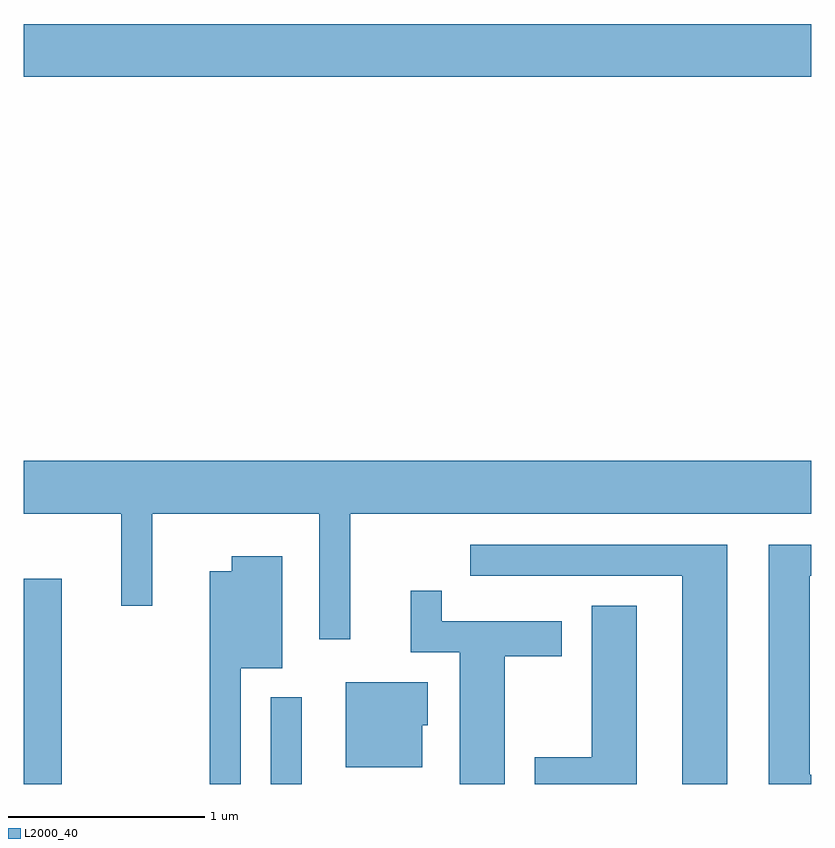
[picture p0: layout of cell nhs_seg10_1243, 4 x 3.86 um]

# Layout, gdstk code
import gdstk
lib = gdstk.Library(unit=1e-6, precision=1e-09)
def R(c, l, rs):  # rectangles x0, y0, x1, y1
    for r in rs: c.add(gdstk.rectangle(r[:2], r[2:], *l))
def P(c, l, *ps):  # polygons
    for p in ps: c.add(gdstk.Polygon(p, *l))
L2000_40 = (2000, 40)

nhs_seg10_1243 = lib.new_cell('nhs_seg10_1243')
R(nhs_seg10_1243, L2000_40, [(221.611,2132.522,221.804,2133.564), (222.866,2132.522,223.024,2132.963), (221.611,2136.116,225.611,2136.384)])
P(nhs_seg10_1243, L2000_40, [(223.269,2133.896),(225.611,2133.896),(225.611,2134.164),(221.611,2134.164),(221.611,2133.896),(222.106,2133.896),(222.106,2133.428),(222.264,2133.428),(222.264,2133.896),(223.111,2133.896),(223.111,2133.258),(223.269,2133.258)],
  [(225.611,2132.569),(225.604,2132.569),(225.604,2133.581),(225.611,2133.581),(225.611,2133.739),(225.396,2133.739),(225.396,2132.522),(225.611,2132.522)],
  [(225.184,2133.739),(223.878,2133.739),(223.878,2133.581),(224.956,2133.581),(224.956,2132.522),(225.184,2132.522)],
  [(222.714,2133.111),(222.924,2133.111),(222.924,2133.679),(222.666,2133.679),(222.666,2133.604),(222.556,2133.604),(222.556,2132.522),(222.714,2132.522)],
  [(224.054,2133.171),(224.344,2133.171),(224.344,2133.349),(223.734,2133.349),(223.734,2133.503),(223.576,2133.503),(223.576,2133.191),(223.826,2133.191),(223.826,2132.522),(224.054,2132.522)],
  [(224.724,2133.429),(224.496,2133.429),(224.496,2132.659),(224.206,2132.659),(224.206,2132.522),(224.724,2132.522)],
  [(223.634,2132.821),(223.664,2132.821),(223.664,2133.039),(223.246,2133.039),(223.246,2132.606),(223.634,2132.606)])

lib.write_gds('nhs_seg10_1243.gds')
